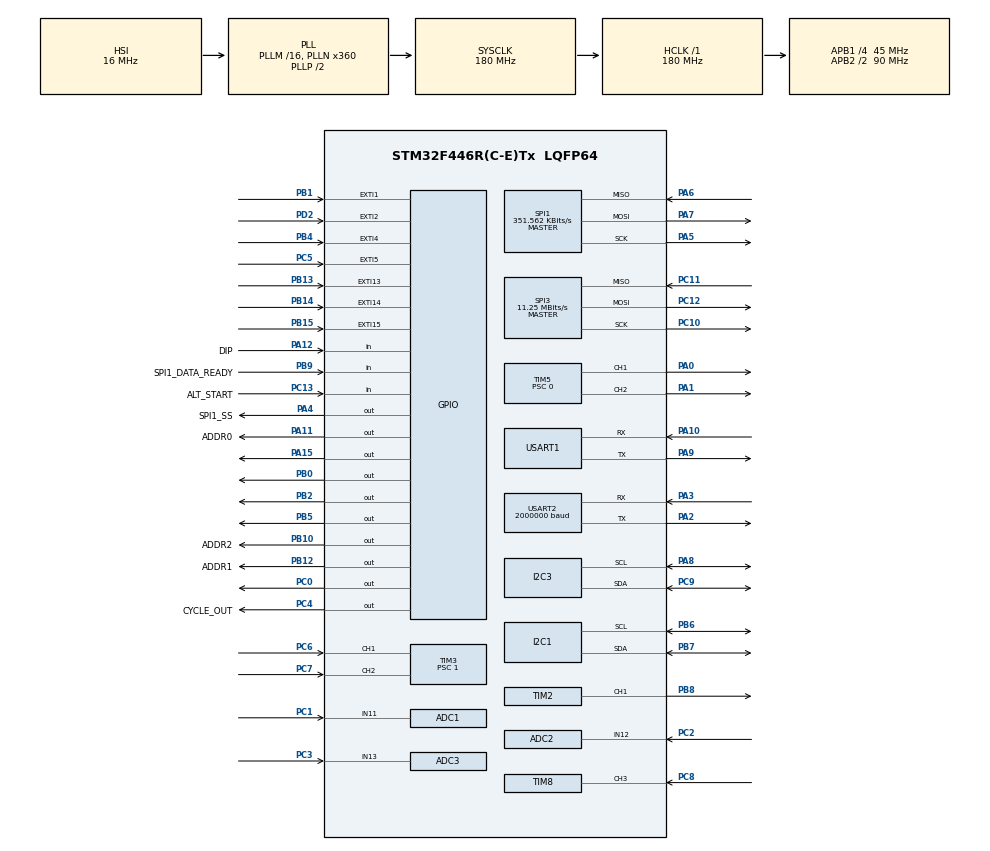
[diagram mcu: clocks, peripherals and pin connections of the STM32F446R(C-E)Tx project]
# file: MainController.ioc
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ADC1.Channel-0\#ChannelRegularConversion=ADC_CHANNEL_11
ADC1.ClockPrescaler=ADC_CLOCK_SYNC_PCLK_DIV4
ADC1.ContinuousConvMode=DISABLE
ADC1.DMAContinuousRequests=DISABLE
ADC1.DataAlign=ADC_DATAALIGN_RIGHT
ADC1.DiscontinuousConvMode=DISABLE
ADC1.EOCSelection=ADC_EOC_SINGLE_CONV
ADC1.EnableAnalogWatchDog=false
ADC1.ExternalTrigConv=ADC_SOFTWARE_START
ADC1.ExternalTrigConvEdge=ADC_EXTERNALTRIGCONVEDGE_NONE
ADC1.InjNumberOfConversion=0
ADC1.NbrOfConversion=1
ADC1.NbrOfConversionFlag=1
ADC1.Rank-0\#ChannelRegularConversion=1
ADC1.Resolution=ADC_RESOLUTION_12B
ADC1.SamplingTime-0\#ChannelRegularConversion=ADC_SAMPLETIME_3CYCLES
ADC1.ScanConvMode=DISABLE
ADC1.master=1
ADC2.Channel-0\#ChannelRegularConversion=ADC_CHANNEL_12
ADC2.ClockPrescaler=ADC_CLOCK_SYNC_PCLK_DIV4
ADC2.ContinuousConvMode=DISABLE
ADC2.DMAContinuousRequests=DISABLE
ADC2.DataAlign=ADC_DATAALIGN_RIGHT
ADC2.DiscontinuousConvMode=DISABLE
ADC2.EOCSelection=ADC_EOC_SINGLE_CONV
ADC2.EnableAnalogWatchDog=false
ADC2.ExternalTrigConv=ADC_SOFTWARE_START
ADC2.ExternalTrigConvEdge=ADC_EXTERNALTRIGCONVEDGE_NONE
ADC2.InjNumberOfConversion=0
ADC2.NbrOfConversion=1
ADC2.NbrOfConversionFlag=1
ADC2.Rank-0\#ChannelRegularConversion=1
ADC2.Resolution=ADC_RESOLUTION_12B
ADC2.SamplingTime-0\#ChannelRegularConversion=ADC_SAMPLETIME_3CYCLES
ADC2.ScanConvMode=DISABLE
ADC3.Channel-0\#ChannelRegularConversion=ADC_CHANNEL_13
ADC3.NbrOfConversionFlag=1
ADC3.Rank-0\#ChannelRegularConversion=1
ADC3.SamplingTime-0\#ChannelRegularConversion=ADC_SAMPLETIME_3CYCLES
Dma.I2C1_RX.1.Direction=DMA_PERIPH_TO_MEMORY
Dma.I2C1_RX.1.FIFOMode=DMA_FIFOMODE_DISABLE
Dma.I2C1_RX.1.Instance=DMA1_Stream0
Dma.I2C1_RX.1.MemDataAlignment=DMA_MDATAALIGN_BYTE
Dma.I2C1_RX.1.MemInc=DMA_MINC_ENABLE
Dma.I2C1_RX.1.Mode=DMA_NORMAL
Dma.I2C1_RX.1.PeriphDataAlignment=DMA_PDATAALIGN_BYTE
Dma.I2C1_RX.1.PeriphInc=DMA_PINC_DISABLE
Dma.I2C1_RX.1.Priority=DMA_PRIORITY_LOW
Dma.Request0=USART2_TX
Dma.Request1=I2C1_RX
Dma.Request2=TIM8_CH3
Dma.TIM8_CH3.2.Direction=DMA_PERIPH_TO_MEMORY
Dma.TIM8_CH3.2.FIFOMode=DMA_FIFOMODE_DISABLE
Dma.TIM8_CH3.2.Instance=DMA2_Stream4
Dma.TIM8_CH3.2.MemDataAlignment=DMA_MDATAALIGN_HALFWORD
Dma.TIM8_CH3.2.MemInc=DMA_MINC_ENABLE
Dma.TIM8_CH3.2.Mode=DMA_NORMAL
Dma.TIM8_CH3.2.PeriphDataAlignment=DMA_PDATAALIGN_HALFWORD
Dma.TIM8_CH3.2.PeriphInc=DMA_PINC_DISABLE
Dma.TIM8_CH3.2.Priority=DMA_PRIORITY_LOW
Dma.USART2_TX.0.Direction=DMA_MEMORY_TO_PERIPH
Dma.USART2_TX.0.FIFOMode=DMA_FIFOMODE_DISABLE
Dma.USART2_TX.0.Instance=DMA1_Stream6
Dma.USART2_TX.0.MemDataAlignment=DMA_MDATAALIGN_BYTE
Dma.USART2_TX.0.MemInc=DMA_MINC_ENABLE
Dma.USART2_TX.0.Mode=DMA_NORMAL
Dma.USART2_TX.0.PeriphDataAlignment=DMA_PDATAALIGN_BYTE
Dma.USART2_TX.0.PeriphInc=DMA_PINC_DISABLE
Dma.USART2_TX.0.Priority=DMA_PRIORITY_LOW
FREERTOS.INCLUDE_vTaskDelayUntil=1
FREERTOS.Tasks01=defaultTask,0,128,StartDefaultTask,Default,NULL
Mcu.Family=STM32F4
Mcu.Name=STM32F446R(C-E)Tx
Mcu.Package=LQFP64
NVIC.ADC_IRQn=true\:5\:0\:false\:false\:true\:true\:true
NVIC.DMA1_Stream0_IRQn=true\:5\:0\:false\:false\:true\:true\:false
NVIC.DMA1_Stream6_IRQn=true\:5\:0\:false\:false\:true\:true\:false
NVIC.DMA2_Stream4_IRQn=true\:5\:0\:false\:false\:true\:true\:false
NVIC.EXTI1_IRQn=true\:5\:0\:false\:false\:true\:true\:true
NVIC.EXTI2_IRQn=true\:5\:0\:false\:false\:true\:true\:true
NVIC.EXTI4_IRQn=true\:5\:0\:false\:false\:true\:true\:true
NVIC.I2C1_ER_IRQn=true\:5\:0\:false\:false\:true\:true\:true
NVIC.I2C1_EV_IRQn=true\:5\:0\:false\:false\:true\:true\:true
NVIC.I2C3_ER_IRQn=true\:5\:0\:false\:false\:true\:true\:true
NVIC.I2C3_EV_IRQn=true\:5\:0\:false\:false\:true\:true\:true
NVIC.PriorityGroup=NVIC_PRIORITYGROUP_4
NVIC.SPI1_IRQn=true\:5\:0\:false\:false\:true\:true\:true
NVIC.SPI3_IRQn=true\:5\:0\:false\:false\:true\:true\:true
NVIC.TIM2_IRQn=true\:5\:0\:false\:false\:true\:true\:true
NVIC.TIM5_IRQn=true\:5\:0\:false\:false\:true\:true\:true
NVIC.TIM6_DAC_IRQn=true\:5\:0\:false\:false\:true\:true\:true
NVIC.TIM8_BRK_TIM12_IRQn=true\:5\:0\:false\:false\:true\:true\:true
NVIC.TIM8_CC_IRQn=true\:5\:0\:false\:false\:true\:true\:true
NVIC.TIM8_TRG_COM_TIM14_IRQn=true\:5\:0\:false\:false\:true\:true\:true
NVIC.TIM8_UP_TIM13_IRQn=true\:5\:0\:false\:false\:true\:true\:true
NVIC.USART1_IRQn=true\:5\:0\:false\:false\:true\:true\:true
NVIC.USART2_IRQn=true\:5\:0\:false\:false\:true\:true\:true
PA0-WKUP.Signal=S_TIM5_CH1
PA1.Signal=S_TIM5_CH2
PA10.GPIO_Speed=GPIO_SPEED_FREQ_LOW
PA10.Mode=Asynchronous
PA10.Signal=USART1_RX
PA11.GPIO_Label=ADDR0
PA11.Signal=GPIO_Output
PA12.GPIO_Label=DIP
PA12.GPIO_PuPd=GPIO_PULLUP
PA12.Signal=GPIO_Input
PA13.GPIO_Label=TMS
PA13.Mode=Serial_Wire
PA13.Signal=SYS_JTMS-SWDIO
PA14.GPIO_Label=TCK
PA14.Mode=Serial_Wire
PA14.Signal=SYS_JTCK-SWCLK
PA15.Signal=GPIO_Output
PA2.Mode=Asynchronous
PA2.Signal=USART2_TX
PA3.Mode=Asynchronous
PA3.Signal=USART2_RX
PA4.GPIO_Label=SPI1_SS
PA4.Signal=GPIO_Output
PA5.GPIO_Speed=GPIO_SPEED_FREQ_LOW
PA5.Mode=Full_Duplex_Master
PA5.Signal=SPI1_SCK
PA6.GPIO_Speed=GPIO_SPEED_FREQ_LOW
PA6.Mode=Full_Duplex_Master
PA6.Signal=SPI1_MISO
PA7.GPIO_Speed=GPIO_SPEED_FREQ_LOW
PA7.Mode=Full_Duplex_Master
PA7.Signal=SPI1_MOSI
PA8.Mode=I2C
PA8.Signal=I2C3_SCL
PA9.GPIO_Speed=GPIO_SPEED_FREQ_LOW
PA9.Mode=Asynchronous
PA9.Signal=USART1_TX
PB0.Signal=GPIO_Output
PB1.Signal=GPXTI1
PB10.GPIO_Label=ADDR2
PB10.Signal=GPIO_Output
PB12.GPIO_Label=ADDR1
PB12.Signal=GPIO_Output
PB13.Signal=GPXTI13
PB14.Signal=GPXTI14
PB15.Signal=GPXTI15
PB2.Signal=GPIO_Output
PB3.GPIO_Label=SWO
PB3.Signal=SYS_JTDO-SWO
PB4.GPIO_ModeDefaultEXTI=GPIO_MODE_IT_RISING_FALLING
PB4.Signal=GPXTI4
PB5.Signal=GPIO_Output
PB6.Mode=I2C
PB6.Signal=I2C1_SCL
PB7.Mode=I2C
PB7.Signal=I2C1_SDA
PB8.Signal=S_TIM2_CH1_ETR
PB9.GPIO_Label=SPI1_DATA_READY
PB9.GPIO_PuPd=GPIO_PULLDOWN
PB9.Signal=GPIO_Input
PC0.Signal=GPIO_Output
PC1.Signal=ADCx_IN11
PC10.Mode=Full_Duplex_Master
PC10.Signal=SPI3_SCK
PC11.Mode=Full_Duplex_Master
PC11.Signal=SPI3_MISO
PC12.Mode=Full_Duplex_Master
PC12.Signal=SPI3_MOSI
PC13.GPIO_Label=ALT_START
PC13.GPIO_PuPd=GPIO_NOPULL
PC13.Signal=GPIO_Input
PC14-OSC32_IN.Signal=RCC_OSC32_IN
PC15-OSC32_OUT.Signal=RCC_OSC32_OUT
PC2.Signal=ADCx_IN12
PC3.Signal=ADCx_IN13
PC4.GPIO_Label=CYCLE_OUT
PC4.Signal=GPIO_Output
PC5.Signal=GPXTI5
PC6.Signal=S_TIM3_CH1
PC7.Signal=S_TIM3_CH2
PC8.Signal=S_TIM8_CH3
PC9.Mode=I2C
PC9.Signal=I2C3_SDA
PD2.GPIO_ModeDefaultEXTI=GPIO_MODE_IT_RISING_FALLING
PD2.GPIO_PuPd=GPIO_NOPULL
PD2.Signal=GPXTI2
ProjectManager.HeapSize=0x200
ProjectManager.StackSize=0x400
ProjectManager.TargetToolchain=SW4STM32
RCC.AHBFreq_Value=180000000
RCC.APB1CLKDivider=RCC_HCLK_DIV4
RCC.APB1Freq_Value=45000000
RCC.APB1TimFreq_Value=90000000
RCC.APB2CLKDivider=RCC_HCLK_DIV2
RCC.APB2Freq_Value=90000000
RCC.APB2TimFreq_Value=180000000
RCC.CortexFreq_Value=180000000
RCC.FLatency-AdvancedSettings=FLASH_LATENCY_5
RCC.HCLKFreq_Value=180000000
RCC.HSE_VALUE=8000000
RCC.HSI_VALUE=16000000
RCC.PLLN=360
RCC.SYSCLKFreq_VALUE=180000000
RCC.SYSCLKSource=RCC_SYSCLKSOURCE_PLLCLK
RCC.USBFreq_Value=180000000
RCC.VCOOutputFreq_Value=360000000
SH.ADCx_IN11.0=ADC1_IN11,IN11
SH.ADCx_IN12.0=ADC2_IN12,IN12
SH.ADCx_IN13.0=ADC3_IN13,IN13
SH.S_TIM2_CH1_ETR.0=TIM2_CH1,PWM Generation1 CH1
SH.S_TIM3_CH1.0=TIM3_CH1,Encoder_Interface
SH.S_TIM3_CH2.0=TIM3_CH2,Encoder_Interface
SH.S_TIM5_CH1.0=TIM5_CH1,PWM Generation1 CH1
SH.S_TIM5_CH2.0=TIM5_CH2,PWM Generation2 CH2
SH.S_TIM8_CH3.0=TIM8_CH3,Input_Capture3_from_TI3
SPI1.BaudRatePrescaler=SPI_BAUDRATEPRESCALER_256
SPI1.CLKPhase=SPI_PHASE_2EDGE
SPI1.CLKPolarity=SPI_POLARITY_HIGH
SPI1.CalculateBaudRate=351.562 KBits/s
SPI1.Direction=SPI_DIRECTION_2LINES
SPI1.Mode=SPI_MODE_MASTER
SPI1.VirtualType=VM_MASTER
SPI3.BaudRatePrescaler=SPI_BAUDRATEPRESCALER_4
SPI3.CalculateBaudRate=11.25 MBits/s
SPI3.Direction=SPI_DIRECTION_2LINES
SPI3.Mode=SPI_MODE_MASTER
SPI3.VirtualType=VM_MASTER
TIM2.Channel-PWM\ Generation1\ CH1=TIM_CHANNEL_1
TIM2.Period=50000
TIM2.Prescaler=29
TIM3.CounterMode=TIM_COUNTERMODE_DOWN
TIM3.IC1Filter=15
TIM3.IC2Filter=15
TIM3.Period=50000
TIM3.Prescaler=1
TIM5.Channel-PWM\ Generation1\ CH1=TIM_CHANNEL_1
TIM5.Channel-PWM\ Generation2\ CH2=TIM_CHANNEL_2
TIM5.CounterMode=TIM_COUNTERMODE_CENTERALIGNED1
TIM5.Period=4500
TIM5.Prescaler=0
TIM6.Period=1000
TIM8.Channel-Input_Capture3_from_TI3=TIM_CHANNEL_3
TIM8.ICFilter_CH3=4
TIM8.ICPolarity_CH3=TIM_INPUTCHANNELPOLARITY_FALLING
TIM8.Period=65000
TIM8.Prescaler=180
USART1.VirtualMode=VM_ASYNC
USART2.BaudRate=2000000
USART2.VirtualMode=VM_ASYNC
VP_FREERTOS_VS_ENABLE.Mode=Enabled
VP_TIM6_VS_ClockSourceINT.Mode=Enable_Timer
VP_TIM6_VS_OPM.Mode=OPM_bit
VP_TIM8_VS_ClockSourceINT.Mode=Internal
board=NUCLEO-F446RE

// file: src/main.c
/**
  ******************************************************************************
  * File Name          : main.c
  * Description        : Main program body
  ******************************************************************************
  * This notice applies to any and all portions of this file
  * that are not between comment pairs USER CODE BEGIN and
  * USER CODE END. Other portions of this file, whether
  * inserted by the user or by software development tools
  * are owned by their respective copyright owners.
  *
  * Copyright (c) 2018 STMicroelectronics International N.V.
  * All rights reserved.
  *
  * Redistribution and use in source and binary forms, with or without
  * modification, are permitted, provided that the following conditions are met:
  *
  * 1. Redistribution of source code must retain the above copyright notice,
  *    this list of conditions and the following disclaimer.
  * 2. Redistributions in binary form must reproduce the above copyright notice,
  *    this list of conditions and the following disclaimer in the documentation
  *    and/or other materials provided with the distribution.
  * 3. Neither the name of STMicroelectronics nor the names of other
  *    contributors to this software may be used to endorse or promote products
  *    derived from this software without specific written permission.
  * 4. This software, including modifications and/or derivative works of this
  *    software, must execute solely and exclusively on microcontroller or
  *    microprocessor devices manufactured by or for STMicroelectronics.
  * 5. Redistribution and use of this software other than as permitted under
  *    this license is void and will automatically terminate your rights under
  *    this license.
  *
  * THIS SOFTWARE IS PROVIDED BY STMICROELECTRONICS AND CONTRIBUTORS "AS IS"
  * AND ANY EXPRESS, IMPLIED OR STATUTORY WARRANTIES, INCLUDING, BUT NOT
  * LIMITED TO, THE IMPLIED WARRANTIES OF MERCHANTABILITY, FITNESS FOR A
  * PARTICULAR PURPOSE AND NON-INFRINGEMENT OF THIRD PARTY INTELLECTUAL PROPERTY
  * RIGHTS ARE DISCLAIMED TO THE FULLEST EXTENT PERMITTED BY LAW. IN NO EVENT
  * SHALL STMICROELECTRONICS OR CONTRIBUTORS BE LIABLE FOR ANY DIRECT, INDIRECT,
  * INCIDENTAL, SPECIAL, EXEMPLARY, OR CONSEQUENTIAL DAMAGES (INCLUDING, BUT NOT
  * LIMITED TO, PROCUREMENT OF SUBSTITUTE GOODS OR SERVICES; LOSS OF USE, DATA,
  * OR PROFITS; OR BUSINESS INTERRUPTION) HOWEVER CAUSED AND ON ANY THEORY OF
  * LIABILITY, WHETHER IN CONTRACT, STRICT LIABILITY, OR TORT (INCLUDING
  * NEGLIGENCE OR OTHERWISE) ARISING IN ANY WAY OUT OF THE USE OF THIS SOFTWARE,
  * EVEN IF ADVISED OF THE POSSIBILITY OF SUCH DAMAGE.
  *
  ******************************************************************************
  */

#include "main.h"
#include "stm32f4xx_hal.h"
#include "cmsis_os.h"

/* USER CODE BEGIN Includes */
#include "lst_task.h"
/* USER CODE END Includes */

ADC_HandleTypeDef hadc1;
ADC_HandleTypeDef hadc2;
ADC_HandleTypeDef hadc3;

I2C_HandleTypeDef hi2c1;
I2C_HandleTypeDef hi2c3;
DMA_HandleTypeDef hdma_i2c1_rx;

SPI_HandleTypeDef hspi1;
SPI_HandleTypeDef hspi3;

TIM_HandleTypeDef htim2;
TIM_HandleTypeDef htim3;
TIM_HandleTypeDef htim5;
TIM_HandleTypeDef htim6;
TIM_HandleTypeDef htim8;
DMA_HandleTypeDef hdma_tim8_ch3;

UART_HandleTypeDef huart1;
UART_HandleTypeDef huart2;
DMA_HandleTypeDef hdma_usart2_tx;

osThreadId defaultTaskHandle;

/* USER CODE BEGIN PV */
/* Private variables ---------------------------------------------------------*/

static void MX_TIM5_Init_Factory_Motor_Control(void);

/* USER CODE END PV */

void SystemClock_Config(void);
static void MX_GPIO_Init(void);
static void MX_DMA_Init(void);
static void MX_ADC1_Init(void);
static void MX_ADC2_Init(void);
static void MX_ADC3_Init(void);
static void MX_TIM5_Init(void);
static void MX_USART2_UART_Init(void);
static void MX_SPI1_Init(void);
static void MX_I2C3_Init(void);
static void MX_USART1_UART_Init(void);
static void MX_SPI3_Init(void);
static void MX_TIM8_Init(void);
static void MX_I2C1_Init(void);
static void MX_TIM2_Init(void);
static void MX_TIM6_Init(void);
static void MX_TIM3_Init(void);
void StartDefaultTask(void const * argument);

void HAL_TIM_MspPostInit(TIM_HandleTypeDef *htim);

/* USER CODE BEGIN PFP */
/* Private function prototypes -----------------------------------------------*/
extern void LST_Start(void const * argument);
/* USER CODE END PFP */

int main(void)
{

  /* MCU Configuration----------------------------------------------------------*/

  /* Reset of all peripherals, Initializes the Flash interface and the Systick. */
  HAL_Init();

  /* Configure the system clock */
  SystemClock_Config();

  /* Initialize all configured peripherals */
  MX_GPIO_Init();
  MX_DMA_Init();
  MX_ADC1_Init();
  MX_ADC2_Init();
  MX_ADC3_Init();
  MX_TIM5_Init();
  MX_USART2_UART_Init();
  MX_SPI1_Init();
  MX_I2C3_Init();
  MX_USART1_UART_Init();
  MX_SPI3_Init();
  MX_TIM8_Init();
  MX_I2C1_Init();
  MX_TIM2_Init();
  MX_TIM6_Init();
  MX_TIM3_Init();

  /* USER CODE BEGIN 2 */

#ifndef LST_CONFIG_CUSTOM_MOTOR_CONTROL
  MX_TIM5_Init_Factory_Motor_Control();
#endif

  /* USER CODE END 2 */

  /* Create the thread(s) */
  /* definition and creation of defaultTask */
  osThreadDef(defaultTask, StartDefaultTask, osPriorityNormal, 0, 128);
  defaultTaskHandle = osThreadCreate(osThread(defaultTask), NULL);

  /* Start scheduler */
  osKernelStart();

  /* We should never get here as control is now taken by the scheduler */

  /* Infinite loop */
  while (1) {

  }

}

/** System Clock Configuration
*/
void SystemClock_Config(void)
{

  RCC_OscInitTypeDef RCC_OscInitStruct;
  RCC_ClkInitTypeDef RCC_ClkInitStruct;

    /**Configure the main internal regulator output voltage
    */
  __HAL_RCC_PWR_CLK_ENABLE();

  __HAL_PWR_VOLTAGESCALING_CONFIG(PWR_REGULATOR_VOLTAGE_SCALE1);

    /**Initializes the CPU, AHB and APB busses clocks
    */
  RCC_OscInitStruct.OscillatorType = RCC_OSCILLATORTYPE_HSI;
  RCC_OscInitStruct.HSIState = RCC_HSI_ON;
  RCC_OscInitStruct.HSICalibrationValue = 16;
  RCC_OscInitStruct.PLL.PLLState = RCC_PLL_ON;
  RCC_OscInitStruct.PLL.PLLSource = RCC_PLLSOURCE_HSI;
  RCC_OscInitStruct.PLL.PLLM = 16;
  RCC_OscInitStruct.PLL.PLLN = 360;
  RCC_OscInitStruct.PLL.PLLP = RCC_PLLP_DIV2;
  RCC_OscInitStruct.PLL.PLLQ = 2;
  RCC_OscInitStruct.PLL.PLLR = 2;
  if (HAL_RCC_OscConfig(&RCC_OscInitStruct) != HAL_OK)
  {
    _Error_Handler(__FILE__, __LINE__);
  }

    /**Activate the Over-Drive mode
    */
  if (HAL_PWREx_EnableOverDrive() != HAL_OK)
  {
    _Error_Handler(__FILE__, __LINE__);
  }

    /**Initializes the CPU, AHB and APB busses clocks
    */
  RCC_ClkInitStruct.ClockType = RCC_CLOCKTYPE_HCLK|RCC_CLOCKTYPE_SYSCLK
                              |RCC_CLOCKTYPE_PCLK1|RCC_CLOCKTYPE_PCLK2;
  RCC_ClkInitStruct.SYSCLKSource = RCC_SYSCLKSOURCE_PLLCLK;
  RCC_ClkInitStruct.AHBCLKDivider = RCC_SYSCLK_DIV1;
  RCC_ClkInitStruct.APB1CLKDivider = RCC_HCLK_DIV4;
  RCC_ClkInitStruct.APB2CLKDivider = RCC_HCLK_DIV2;

  if (HAL_RCC_ClockConfig(&RCC_ClkInitStruct, FLASH_LATENCY_5) != HAL_OK)
  {
    _Error_Handler(__FILE__, __LINE__);
  }

    /**Configure the Systick interrupt time
    */
  HAL_SYSTICK_Config(HAL_RCC_GetHCLKFreq()/1000);

    /**Configure the Systick
    */
  HAL_SYSTICK_CLKSourceConfig(SYSTICK_CLKSOURCE_HCLK);

  /* SysTick_IRQn interrupt configuration */
  HAL_NVIC_SetPriority(SysTick_IRQn, 15, 0);
}

/* ADC1 init function */
static void MX_ADC1_Init(void)
{

  ADC_ChannelConfTypeDef sConfig;

    /**Configure the global features of the ADC (Clock, Resolution, Data Alignment and number of conversion)
    */
  hadc1.Instance = ADC1;
  hadc1.Init.ClockPrescaler = ADC_CLOCK_SYNC_PCLK_DIV4;
  hadc1.Init.Resolution = ADC_RESOLUTION_12B;
  hadc1.Init.ScanConvMode = DISABLE;
  hadc1.Init.ContinuousConvMode = DISABLE;
  hadc1.Init.DiscontinuousConvMode = DISABLE;
  hadc1.Init.ExternalTrigConvEdge = ADC_EXTERNALTRIGCONVEDGE_NONE;
  hadc1.Init.ExternalTrigConv = ADC_SOFTWARE_START;
  hadc1.Init.DataAlign = ADC_DATAALIGN_RIGHT;
  hadc1.Init.NbrOfConversion = 1;
  hadc1.Init.DMAContinuousRequests = DISABLE;
  hadc1.Init.EOCSelection = ADC_EOC_SINGLE_CONV;
  if (HAL_ADC_Init(&hadc1) != HAL_OK)
  {
    _Error_Handler(__FILE__, __LINE__);
  }

    /**Configure for the selected ADC regular channel its corresponding rank in the sequencer and its sample time.
    */
  sConfig.Channel = ADC_CHANNEL_11;
  sConfig.Rank = 1;
  sConfig.SamplingTime = ADC_SAMPLETIME_3CYCLES;
  if (HAL_ADC_ConfigChannel(&hadc1, &sConfig) != HAL_OK)
  {
    _Error_Handler(__FILE__, __LINE__);
  }

}

/* ADC2 init function */
static void MX_ADC2_Init(void)
{

  ADC_ChannelConfTypeDef sConfig;

    /**Configure the global features of the ADC (Clock, Resolution, Data Alignment and number of conversion)
    */
  hadc2.Instance = ADC2;
  hadc2.Init.ClockPrescaler = ADC_CLOCK_SYNC_PCLK_DIV4;
  hadc2.Init.Resolution = ADC_RESOLUTION_12B;
  hadc2.Init.ScanConvMode = DISABLE;
  hadc2.Init.ContinuousConvMode = DISABLE;
  hadc2.Init.DiscontinuousConvMode = DISABLE;
  hadc2.Init.ExternalTrigConvEdge = ADC_EXTERNALTRIGCONVEDGE_NONE;
  hadc2.Init.ExternalTrigConv = ADC_SOFTWARE_START;
  hadc2.Init.DataAlign = ADC_DATAALIGN_RIGHT;
  hadc2.Init.NbrOfConversion = 1;
  hadc2.Init.DMAContinuousRequests = DISABLE;
  hadc2.Init.EOCSelection = ADC_EOC_SINGLE_CONV;
  if (HAL_ADC_Init(&hadc2) != HAL_OK)
  {
    _Error_Handler(__FILE__, __LINE__);
  }

    /**Configure for the selected ADC regular channel its corresponding rank in the sequencer and its sample time.
    */
  sConfig.Channel = ADC_CHANNEL_12;
  sConfig.Rank = 1;
  sConfig.SamplingTime = ADC_SAMPLETIME_3CYCLES;
  if (HAL_ADC_ConfigChannel(&hadc2, &sConfig) != HAL_OK)
  {
    _Error_Handler(__FILE__, __LINE__);
  }

}

/* ADC3 init function */
static void MX_ADC3_Init(void)
{

  ADC_ChannelConfTypeDef sConfig;

    /**Configure the global features of the ADC (Clock, Resolution, Data Alignment and number of conversion)
    */
  hadc3.Instance = ADC3;
  hadc3.Init.ClockPrescaler = ADC_CLOCK_SYNC_PCLK_DIV4;
  hadc3.Init.Resolution = ADC_RESOLUTION_12B;
  hadc3.Init.ScanConvMode = DISABLE;
  hadc3.Init.ContinuousConvMode = DISABLE;
  hadc3.Init.DiscontinuousConvMode = DISABLE;
  hadc3.Init.ExternalTrigConvEdge = ADC_EXTERNALTRIGCONVEDGE_NONE;
  hadc3.Init.ExternalTrigConv = ADC_SOFTWARE_START;
  hadc3.Init.DataAlign = ADC_DATAALIGN_RIGHT;
  hadc3.Init.NbrOfConversion = 1;
  hadc3.Init.DMAContinuousRequests = DISABLE;
  hadc3.Init.EOCSelection = ADC_EOC_SINGLE_CONV;
  if (HAL_ADC_Init(&hadc3) != HAL_OK)
  {
    _Error_Handler(__FILE__, __LINE__);
  }

    /**Configure for the selected ADC regular channel its corresponding rank in the sequencer and its sample time.
    */
  sConfig.Channel = ADC_CHANNEL_13;
  sConfig.Rank = 1;
  sConfig.SamplingTime = ADC_SAMPLETIME_3CYCLES;
  if (HAL_ADC_ConfigChannel(&hadc3, &sConfig) != HAL_OK)
  {
    _Error_Handler(__FILE__, __LINE__);
  }

}

/* I2C1 init function */
static void MX_I2C1_Init(void)
{

  hi2c1.Instance = I2C1;
  hi2c1.Init.ClockSpeed = 100000;
  hi2c1.Init.DutyCycle = I2C_DUTYCYCLE_2;
  hi2c1.Init.OwnAddress1 = 0;
  hi2c1.Init.AddressingMode = I2C_ADDRESSINGMODE_7BIT;
  hi2c1.Init.DualAddressMode = I2C_DUALADDRESS_DISABLE;
  hi2c1.Init.OwnAddress2 = 0;
  hi2c1.Init.GeneralCallMode = I2C_GENERALCALL_DISABLE;
  hi2c1.Init.NoStretchMode = I2C_NOSTRETCH_DISABLE;
  if (HAL_I2C_Init(&hi2c1) != HAL_OK)
  {
    _Error_Handler(__FILE__, __LINE__);
  }

}

/* I2C3 init function */
static void MX_I2C3_Init(void)
{

  hi2c3.Instance = I2C3;
  hi2c3.Init.ClockSpeed = 100000;
  hi2c3.Init.DutyCycle = I2C_DUTYCYCLE_2;
  hi2c3.Init.OwnAddress1 = 0;
  hi2c3.Init.AddressingMode = I2C_ADDRESSINGMODE_7BIT;
  hi2c3.Init.DualAddressMode = I2C_DUALADDRESS_DISABLE;
  hi2c3.Init.OwnAddress2 = 0;
  hi2c3.Init.GeneralCallMode = I2C_GENERALCALL_DISABLE;
  hi2c3.Init.NoStretchMode = I2C_NOSTRETCH_DISABLE;
  if (HAL_I2C_Init(&hi2c3) != HAL_OK)
  {
    _Error_Handler(__FILE__, __LINE__);
  }

}

/* SPI1 init function */
static void MX_SPI1_Init(void)
{

  /* SPI1 parameter configuration*/
  hspi1.Instance = SPI1;
  hspi1.Init.Mode = SPI_MODE_MASTER;
  hspi1.Init.Direction = SPI_DIRECTION_2LINES;
  hspi1.Init.DataSize = SPI_DATASIZE_8BIT;
  hspi1.Init.CLKPolarity = SPI_POLARITY_HIGH;
  hspi1.Init.CLKPhase = SPI_PHASE_2EDGE;
  hspi1.Init.NSS = SPI_NSS_SOFT;
  hspi1.Init.BaudRatePrescaler = SPI_BAUDRATEPRESCALER_256;
  hspi1.Init.FirstBit = SPI_FIRSTBIT_MSB;
  hspi1.Init.TIMode = SPI_TIMODE_DISABLE;
  hspi1.Init.CRCCalculation = SPI_CRCCALCULATION_DISABLE;
  hspi1.Init.CRCPolynomial = 10;
  if (HAL_SPI_Init(&hspi1) != HAL_OK)
  {
    _Error_Handler(__FILE__, __LINE__);
  }

}

/* SPI3 init function */
static void MX_SPI3_Init(void)
{

  /* SPI3 parameter configuration*/
  hspi3.Instance = SPI3;
  hspi3.Init.Mode = SPI_MODE_MASTER;
  hspi3.Init.Direction = SPI_DIRECTION_2LINES;
  hspi3.Init.DataSize = SPI_DATASIZE_8BIT;
  hspi3.Init.CLKPolarity = SPI_POLARITY_LOW;
  hspi3.Init.CLKPhase = SPI_PHASE_1EDGE;
  hspi3.Init.NSS = SPI_NSS_SOFT;
  hspi3.Init.BaudRatePrescaler = SPI_BAUDRATEPRESCALER_4;
  hspi3.Init.FirstBit = SPI_FIRSTBIT_MSB;
  hspi3.Init.TIMode = SPI_TIMODE_DISABLE;
  hspi3.Init.CRCCalculation = SPI_CRCCALCULATION_DISABLE;
  hspi3.Init.CRCPolynomial = 10;
  if (HAL_SPI_Init(&hspi3) != HAL_OK)
  {
    _Error_Handler(__FILE__, __LINE__);
  }

}

/* TIM2 init function */
static void MX_TIM2_Init(void)
{

  TIM_MasterConfigTypeDef sMasterConfig;
  TIM_OC_InitTypeDef sConfigOC;

  htim2.Instance = TIM2;
  htim2.Init.Prescaler = 29;
  htim2.Init.CounterMode = TIM_COUNTERMODE_UP;
  htim2.Init.Period = 50000;
  htim2.Init.ClockDivision = TIM_CLOCKDIVISION_DIV1;
  if (HAL_TIM_PWM_Init(&htim2) != HAL_OK)
  {
    _Error_Handler(__FILE__, __LINE__);
  }

  sMasterConfig.MasterOutputTrigger = TIM_TRGO_RESET;
  sMasterConfig.MasterSlaveMode = TIM_MASTERSLAVEMODE_DISABLE;
  if (HAL_TIMEx_MasterConfigSynchronization(&htim2, &sMasterConfig) != HAL_OK)
  {
    _Error_Handler(__FILE__, __LINE__);
  }

  sConfigOC.OCMode = TIM_OCMODE_PWM1;
  sConfigOC.Pulse = 0;
  sConfigOC.OCPolarity = TIM_OCPOLARITY_HIGH;
  sConfigOC.OCFastMode = TIM_OCFAST_DISABLE;
  if (HAL_TIM_PWM_ConfigChannel(&htim2, &sConfigOC, TIM_CHANNEL_1) != HAL_OK)
  {
    _Error_Handler(__FILE__, __LINE__);
  }

  HAL_TIM_MspPostInit(&htim2);

}

/* TIM3 init function */
static void MX_TIM3_Init(void)
{

  TIM_Encoder_InitTypeDef sConfig;
  TIM_MasterConfigTypeDef sMasterConfig;

  htim3.Instance = TIM3;
  htim3.Init.Prescaler = 1;
  htim3.Init.CounterMode = TIM_COUNTERMODE_DOWN;
  htim3.Init.Period = 50000;
  htim3.Init.ClockDivision = TIM_CLOCKDIVISION_DIV1;
  sConfig.EncoderMode = TIM_ENCODERMODE_TI1;
  sConfig.IC1Polarity = TIM_ICPOLARITY_RISING;
  sConfig.IC1Selection = TIM_ICSELECTION_DIRECTTI;
  sConfig.IC1Prescaler = TIM_ICPSC_DIV1;
  sConfig.IC1Filter = 15;
  sConfig.IC2Polarity = TIM_ICPOLARITY_RISING;
  sConfig.IC2Selection = TIM_ICSELECTION_DIRECTTI;
  sConfig.IC2Prescaler = TIM_ICPSC_DIV1;
  sConfig.IC2Filter = 15;
  if (HAL_TIM_Encoder_Init(&htim3, &sConfig) != HAL_OK)
  {
    _Error_Handler(__FILE__, __LINE__);
  }

  sMasterConfig.MasterOutputTrigger = TIM_TRGO_RESET;
  sMasterConfig.MasterSlaveMode = TIM_MASTERSLAVEMODE_DISABLE;
  if (HAL_TIMEx_MasterConfigSynchronization(&htim3, &sMasterConfig) != HAL_OK)
  {
    _Error_Handler(__FILE__, __LINE__);
  }

}

/* TIM5 init function */
static void MX_TIM5_Init(void)
{

  TIM_MasterConfigTypeDef sMasterConfig;
  TIM_OC_InitTypeDef sConfigOC;

  htim5.Instance = TIM5;
  htim5.Init.Prescaler = 0;
  htim5.Init.CounterMode = TIM_COUNTERMODE_CENTERALIGNED1;
  htim5.Init.Period = 4500;
  htim5.Init.ClockDivision = TIM_CLOCKDIVISION_DIV1;
  if (HAL_TIM_PWM_Init(&htim5) != HAL_OK)
  {
    _Error_Handler(__FILE__, __LINE__);
  }

  sMasterConfig.MasterOutputTrigger = TIM_TRGO_RESET;
  sMasterConfig.MasterSlaveMode = TIM_MASTERSLAVEMODE_DISABLE;
  if (HAL_TIMEx_MasterConfigSynchronization(&htim5, &sMasterConfig) != HAL_OK)
  {
    _Error_Handler(__FILE__, __LINE__);
  }

  sConfigOC.OCMode = TIM_OCMODE_PWM1;
  sConfigOC.Pulse = 0;
  sConfigOC.OCPolarity = TIM_OCPOLARITY_HIGH;
  sConfigOC.OCFastMode = TIM_OCFAST_DISABLE;
  if (HAL_TIM_PWM_ConfigChannel(&htim5, &sConfigOC, TIM_CHANNEL_1) != HAL_OK)
  {
    _Error_Handler(__FILE__, __LINE__);
  }

  if (HAL_TIM_PWM_ConfigChannel(&htim5, &sConfigOC, TIM_CHANNEL_2) != HAL_OK)
  {
    _Error_Handler(__FILE__, __LINE__);
  }

  HAL_TIM_MspPostInit(&htim5);

}

/* TIM6 init function */
static void MX_TIM6_Init(void)
{

  TIM_MasterConfigTypeDef sMasterConfig;

  htim6.Instance = TIM6;
  htim6.Init.Prescaler = 0;
  htim6.Init.CounterMode = TIM_COUNTERMODE_UP;
  htim6.Init.Period = 1000;
  if (HAL_TIM_Base_Init(&htim6) != HAL_OK)
  {
    _Error_Handler(__FILE__, __LINE__);
  }

  if (HAL_TIM_OnePulse_Init(&htim6, TIM_OPMODE_SINGLE) != HAL_OK)
  {
    _Error_Handler(__FILE__, __LINE__);
  }

  sMasterConfig.MasterOutputTrigger = TIM_TRGO_RESET;
  sMasterConfig.MasterSlaveMode = TIM_MASTERSLAVEMODE_DISABLE;
  if (HAL_TIMEx_MasterConfigSynchronization(&htim6, &sMasterConfig) != HAL_OK)
  {
    _Error_Handler(__FILE__, __LINE__);
  }

}

/* TIM8 init function */
static void MX_TIM8_Init(void)
{

  TIM_ClockConfigTypeDef sClockSourceConfig;
  TIM_MasterConfigTypeDef sMasterConfig;
  TIM_IC_InitTypeDef sConfigIC;

  htim8.Instance = TIM8;
  htim8.Init.Prescaler = 180;
  htim8.Init.CounterMode = TIM_COUNTERMODE_UP;
  htim8.Init.Period = 65000;
  htim8.Init.ClockDivision = TIM_CLOCKDIVISION_DIV1;
  htim8.Init.RepetitionCounter = 0;
  if (HAL_TIM_Base_Init(&htim8) != HAL_OK)
  {
    _Error_Handler(__FILE__, __LINE__);
  }

  sClockSourceConfig.ClockSource = TIM_CLOCKSOURCE_INTERNAL;
  if (HAL_TIM_ConfigClockSource(&htim8, &sClockSourceConfig) != HAL_OK)
  {
    _Error_Handler(__FILE__, __LINE__);
  }

  if (HAL_TIM_IC_Init(&htim8) != HAL_OK)
  {
    _Error_Handler(__FILE__, __LINE__);
  }

  sMasterConfig.MasterOutputTrigger = TIM_TRGO_RESET;
  sMasterConfig.MasterSlaveMode = TIM_MASTERSLAVEMODE_DISABLE;
  if (HAL_TIMEx_MasterConfigSynchronization(&htim8, &sMasterConfig) != HAL_OK)
  {
    _Error_Handler(__FILE__, __LINE__);
  }

  sConfigIC.ICPolarity = TIM_INPUTCHANNELPOLARITY_FALLING;
  sConfigIC.ICSelection = TIM_ICSELECTION_DIRECTTI;
  sConfigIC.ICPrescaler = TIM_ICPSC_DIV1;
  sConfigIC.ICFilter = 4;
  if (HAL_TIM_IC_ConfigChannel(&htim8, &sConfigIC, TIM_CHANNEL_3) != HAL_OK)
  {
    _Error_Handler(__FILE__, __LINE__);
  }

}

/* USART1 init function */
static void MX_USART1_UART_Init(void)
{

  huart1.Instance = USART1;
  huart1.Init.BaudRate = 115200;
  huart1.Init.WordLength = UART_WORDLENGTH_8B;
  huart1.Init.StopBits = UART_STOPBITS_1;
  huart1.Init.Parity = UART_PARITY_NONE;
  huart1.Init.Mode = UART_MODE_TX_RX;
  huart1.Init.HwFlowCtl = UART_HWCONTROL_NONE;
  huart1.Init.OverSampling = UART_OVERSAMPLING_16;
  if (HAL_UART_Init(&huart1) != HAL_OK)
  {
    _Error_Handler(__FILE__, __LINE__);
  }

}

/* USART2 init function */
static void MX_USART2_UART_Init(void)
{

  huart2.Instance = USART2;
  huart2.Init.BaudRate = 2000000;
  huart2.Init.WordLength = UART_WORDLENGTH_8B;
  huart2.Init.StopBits = UART_STOPBITS_1;
  huart2.Init.Parity = UART_PARITY_NONE;
  huart2.Init.Mode = UART_MODE_TX_RX;
  huart2.Init.HwFlowCtl = UART_HWCONTROL_NONE;
  huart2.Init.OverSampling = UART_OVERSAMPLING_16;
  if (HAL_UART_Init(&huart2) != HAL_OK)
  {
    _Error_Handler(__FILE__, __LINE__);
  }

}

static void MX_DMA_Init(void)
{
  /* DMA controller clock enable */
  __HAL_RCC_DMA1_CLK_ENABLE();
  __HAL_RCC_DMA2_CLK_ENABLE();

  /* DMA interrupt init */
  /* DMA1_Stream0_IRQn interrupt configuration */
  HAL_NVIC_SetPriority(DMA1_Stream0_IRQn, 5, 0);
  HAL_NVIC_EnableIRQ(DMA1_Stream0_IRQn);
  /* DMA1_Stream6_IRQn interrupt configuration */
  HAL_NVIC_SetPriority(DMA1_Stream6_IRQn, 5, 0);
  HAL_NVIC_EnableIRQ(DMA1_Stream6_IRQn);
  /* DMA2_Stream4_IRQn interrupt configuration */
  HAL_NVIC_SetPriority(DMA2_Stream4_IRQn, 5, 0);
  HAL_NVIC_EnableIRQ(DMA2_Stream4_IRQn);

}

/** Configure pins as
        * Analog
        * Input
        * Output
        * EVENT_OUT
        * EXTI
*/
static void MX_GPIO_Init(void)
{

  GPIO_InitTypeDef GPIO_InitStruct;

  /* GPIO Ports Clock Enable */
  __HAL_RCC_GPIOC_CLK_ENABLE();
  __HAL_RCC_GPIOA_CLK_ENABLE();
  __HAL_RCC_GPIOB_CLK_ENABLE();
  __HAL_RCC_GPIOD_CLK_ENABLE();

  /*Configure GPIO pin Output Level */
  HAL_GPIO_WritePin(GPIOC, GPIO_PIN_0|CYCLE_OUT_Pin, GPIO_PIN_RESET);

  /*Configure GPIO pin Output Level */
  HAL_GPIO_WritePin(GPIOA, SPI1_SS_Pin|ADDR0_Pin|GPIO_PIN_15, GPIO_PIN_RESET);

  /*Configure GPIO pin Output Level */
  HAL_GPIO_WritePin(GPIOB, GPIO_PIN_0|GPIO_PIN_2|ADDR2_Pin|ADDR1_Pin
                          |GPIO_PIN_5, GPIO_PIN_RESET);

  /*Configure GPIO pin : ALT_START_Pin */
  GPIO_InitStruct.Pin = ALT_START_Pin;
  GPIO_InitStruct.Mode = GPIO_MODE_INPUT;
  GPIO_InitStruct.Pull = GPIO_NOPULL;
  HAL_GPIO_Init(ALT_START_GPIO_Port, &GPIO_InitStruct);

  /*Configure GPIO pins : PC0 CYCLE_OUT_Pin */
  GPIO_InitStruct.Pin = GPIO_PIN_0|CYCLE_OUT_Pin;
  GPIO_InitStruct.Mode = GPIO_MODE_OUTPUT_PP;
  GPIO_InitStruct.Pull = GPIO_NOPULL;
  GPIO_InitStruct.Speed = GPIO_SPEED_FREQ_LOW;
  HAL_GPIO_Init(GPIOC, &GPIO_InitStruct);

  /*Configure GPIO pins : SPI1_SS_Pin ADDR0_Pin PA15 */
  GPIO_InitStruct.Pin = SPI1_SS_Pin|ADDR0_Pin|GPIO_PIN_15;
  GPIO_InitStruct.Mode = GPIO_MODE_OUTPUT_PP;
  GPIO_InitStruct.Pull = GPIO_NOPULL;
  GPIO_InitStruct.Speed = GPIO_SPEED_FREQ_LOW;
  HAL_GPIO_Init(GPIOA, &GPIO_InitStruct);

  /*Configure GPIO pin : PC5 */
  GPIO_InitStruct.Pin = GPIO_PIN_5;
  GPIO_InitStruct.Mode = GPIO_MODE_IT_RISING;
  GPIO_InitStruct.Pull = GPIO_NOPULL;
  HAL_GPIO_Init(GPIOC, &GPIO_InitStruct);

  /*Configure GPIO pins : PB0 PB2 ADDR2_Pin ADDR1_Pin
                           PB5 */
  GPIO_InitStruct.Pin = GPIO_PIN_0|GPIO_PIN_2|ADDR2_Pin|ADDR1_Pin
                          |GPIO_PIN_5;
  GPIO_InitStruct.Mode = GPIO_MODE_OUTPUT_PP;
  GPIO_InitStruct.Pull = GPIO_NOPULL;
  GPIO_InitStruct.Speed = GPIO_SPEED_FREQ_LOW;
  HAL_GPIO_Init(GPIOB, &GPIO_InitStruct);

  /*Configure GPIO pins : PB1 PB13 PB14 PB15 */
  GPIO_InitStruct.Pin = GPIO_PIN_1|GPIO_PIN_13|GPIO_PIN_14|GPIO_PIN_15;
  GPIO_InitStruct.Mode = GPIO_MODE_IT_RISING;
  GPIO_InitStruct.Pull = GPIO_NOPULL;
  HAL_GPIO_Init(GPIOB, &GPIO_InitStruct);

  /*Configure GPIO pin : DIP_Pin */
  GPIO_InitStruct.Pin = DIP_Pin;
  GPIO_InitStruct.Mode = GPIO_MODE_INPUT;
  GPIO_InitStruct.Pull = GPIO_PULLUP;
  HAL_GPIO_Init(DIP_GPIO_Port, &GPIO_InitStruct);

  /*Configure GPIO pin : PD2 */
  GPIO_InitStruct.Pin = GPIO_PIN_2;
  GPIO_InitStruct.Mode = GPIO_MODE_IT_RISING_FALLING;
  GPIO_InitStruct.Pull = GPIO_NOPULL;
  HAL_GPIO_Init(GPIOD, &GPIO_InitStruct);

  /*Configure GPIO pin : PB4 */
  GPIO_InitStruct.Pin = GPIO_PIN_4;
  GPIO_InitStruct.Mode = GPIO_MODE_IT_RISING_FALLING;
  GPIO_InitStruct.Pull = GPIO_NOPULL;
  HAL_GPIO_Init(GPIOB, &GPIO_InitStruct);

  /*Configure GPIO pin : SPI1_DATA_READY_Pin */
  GPIO_InitStruct.Pin = SPI1_DATA_READY_Pin;
  GPIO_InitStruct.Mode = GPIO_MODE_INPUT;
  GPIO_InitStruct.Pull = GPIO_PULLDOWN;
  HAL_GPIO_Init(SPI1_DATA_READY_GPIO_Port, &GPIO_InitStruct);

  /* EXTI interrupt init*/
  HAL_NVIC_SetPriority(EXTI1_IRQn, 5, 0);
  HAL_NVIC_EnableIRQ(EXTI1_IRQn);

  HAL_NVIC_SetPriority(EXTI2_IRQn, 5, 0);
  HAL_NVIC_EnableIRQ(EXTI2_IRQn);

  HAL_NVIC_SetPriority(EXTI4_IRQn, 5, 0);
  HAL_NVIC_EnableIRQ(EXTI4_IRQn);

}

/* USER CODE BEGIN 4 */

/* TIM5 custom init function */
void MX_TIM5_Init_Factory_Motor_Control(void)
{

	TIM_MasterConfigTypeDef sMasterConfig;
	TIM_OC_InitTypeDef sConfigOC;

	htim5.Instance = TIM5;
	htim5.Init.Prescaler = 29;
	htim5.Init.CounterMode = TIM_COUNTERMODE_UP;
	htim5.Init.Period = 50000;
	htim5.Init.ClockDivision = TIM_CLOCKDIVISION_DIV1;
	if (HAL_TIM_PWM_Init(&htim5) != HAL_OK)
	{
		_Error_Handler(__FILE__, __LINE__);
	}

	sMasterConfig.MasterOutputTrigger = TIM_TRGO_RESET;
	sMasterConfig.MasterSlaveMode = TIM_MASTERSLAVEMODE_DISABLE;
	if (HAL_TIMEx_MasterConfigSynchronization(&htim5, &sMasterConfig) != HAL_OK)
	{
		_Error_Handler(__FILE__, __LINE__);
	}

	sConfigOC.OCMode = TIM_OCMODE_PWM1;
	sConfigOC.Pulse = 0;
	sConfigOC.OCPolarity = TIM_OCPOLARITY_HIGH;
	sConfigOC.OCFastMode = TIM_OCFAST_DISABLE;
	if (HAL_TIM_PWM_ConfigChannel(&htim5, &sConfigOC, TIM_CHANNEL_1) != HAL_OK)
	{
		_Error_Handler(__FILE__, __LINE__);
	}

	if (HAL_TIM_PWM_ConfigChannel(&htim5, &sConfigOC, TIM_CHANNEL_2) != HAL_OK)
	{
		_Error_Handler(__FILE__, __LINE__);
	}

	HAL_TIM_MspPostInit(&htim5);

}

/* USER CODE END 4 */

/* StartDefaultTask function */
void StartDefaultTask(void const * argument)
{

  /* USER CODE BEGIN 5 */

  /* Start LST starter task */
  osThreadDef(LST_Start, LST_Start, osPriorityNormal, 0, 128);
  lst_task_StartTaskHandle = osThreadCreate(osThread(LST_Start), NULL);

  /* Terminate default task */
  osThreadTerminate(defaultTaskHandle);

  /* USER CODE END 5 */
}

void _Error_Handler(char * file, int line)
{
  while (1) {
  }
}

/************************ (C) COPYRIGHT STMicroelectronics *****END OF FILE****/
